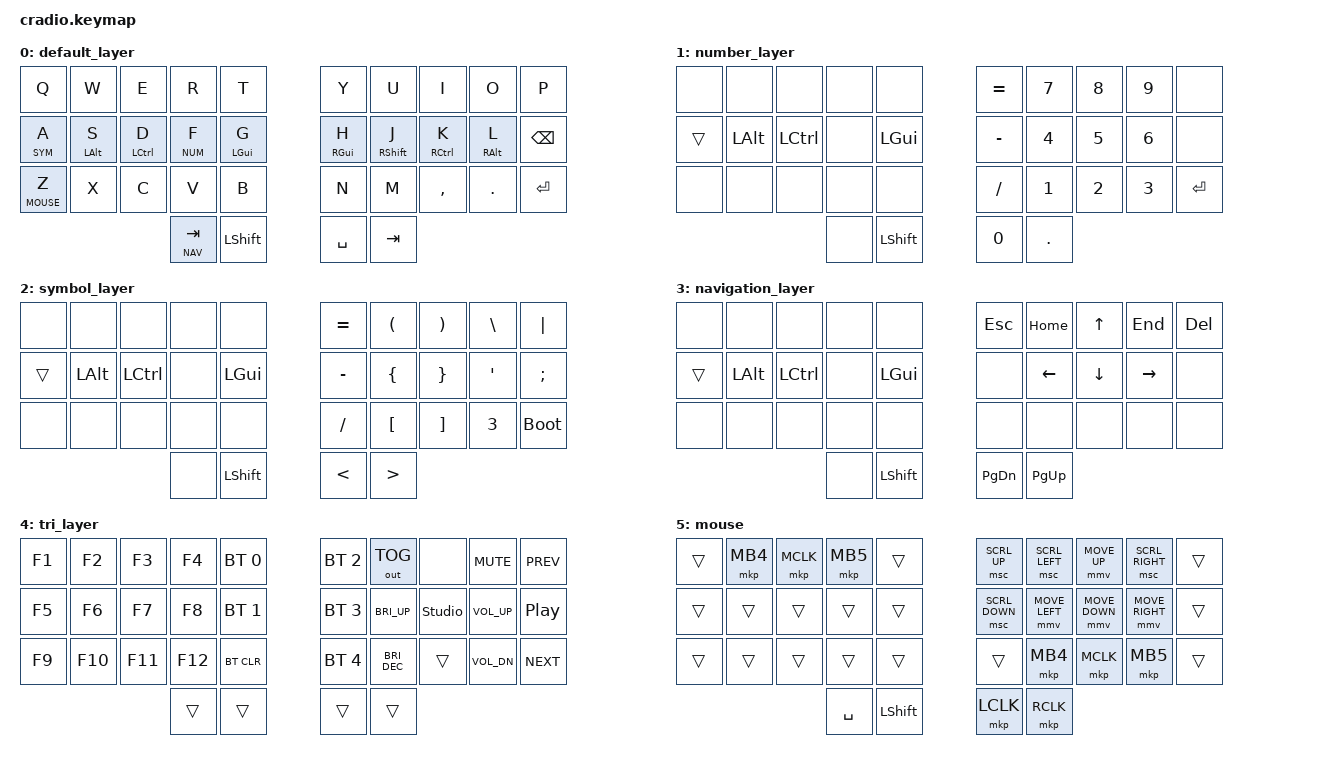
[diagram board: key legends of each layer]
// Copyright (c) 2022 The ZMK Contributors
// SPDX-License-Identifier: MIT

#define ZMK_MOUSE_DEFAULT_MOVE_VAL 2500  // 600
#define ZMK_MOUSE_DEFAULT_SCRL_VAL 20    // 10

#include <behaviors.dtsi>
#include <dt-bindings/zmk/bt.h>
#include <dt-bindings/zmk/keys.h>
#include <dt-bindings/zmk/outputs.h>
#include <dt-bindings/zmk/mouse.h>

#define DEF 0
#define NUM 1
#define SYM 2
#define NAV 3
#define TRI 4
#define MOUSE 5

/ {
    chosen {
        zmk,charmap = &charmap_us;
    };
    behaviors {
        ht: hold_tap {
            label = "hold_tap";
            compatible = "zmk,behavior-hold-tap";
            #binding-cells = <2>;
            flavor = "tap-preferred";
            tapping-term-ms = <220>;
            quick-tap-ms = <150>;
            global-quick-tap;
            bindings = <&kp>, <&kp>;
        };
        mmv {
            acceleration-exponent = <1>;      // 1
            time-to-max-speed-ms = <300>;    // 40
            delay-ms = <0>;                   // 0
        };
        msc {
            acceleration-exponent = <0>;      // 0
            time-to-max-speed-ms = <40>;      // 500
            delay-ms = <0>;                   // 10
        };
    };

    conditional_layers {
        compatible = "zmk,conditional-layers";

        tri_layer {
            if-layers = <NUM SYM>;
            then-layer = <TRI>;
        };
    };

    keymap {
        compatible = "zmk,keymap";

        default_layer {
            bindings = <
&kp Q  &kp W       &kp E        &kp R        &kp T              &kp Y      &kp U        &kp I        &kp O       &kp P
&lt SYM A  &ht LALT S  &ht LCTRL D  &lt NUM F   &ht LGUI G       &ht RGUI H      &ht RSHIFT J   &ht RCTRL K  &ht RALT L  &kp BSPC
&lt MOUSE Z  &kp X       &kp C        &kp V        &kp B              &kp N      &kp M        &kp COMMA    &kp DOT     &kp ENTER
                                &lt NAV TAB  &kp LSHIFT         &kp SPACE &kp TAB
            >;
        };

        number_layer {
            bindings = <
&none   &none    &none     &none   &none                &kp EQUAL  &kp N7    &kp N8     &kp N9     &none
&trans  &kp LALT  &kp LCTRL  &none  &kp LGUI        &kp MINUS  &kp N4   &kp N5  &kp N6 &none
&none   &none    &none     &none   &none                &kp FSLH  &kp N1  &kp N2  &kp N3 &kp ENTER 
                              &none   &kp LSHIFT             &kp N0  &kp DOT
            >;
        };

        symbol_layer {
            bindings = <
&none   &none    &none     &none   &none                &kp EQUAL  &kp LPAR    &kp RPAR     &kp BACKSLASH     &kp PIPE
&trans  &kp LALT  &kp LCTRL  &none  &kp LGUI      &kp MINUS  &kp LBRC   &kp RBRC  &kp SQT &kp SEMICOLON
&none   &none    &none     &none   &none                &kp FSLH  &kp LBKT  &kp RBKT  &kp N3 &bootloader 
                              &none   &kp LSHIFT             &kp LT  &kp GT
            >;
        };

        navigation_layer {
            bindings = <
&none   &none    &none     &none   &none                   &kp ESC  &kp HOME    &kp UP     &kp END     &kp DEL
&trans  &kp LALT  &kp LCTRL  &none &kp LGUI         &none  &kp LEFT   &kp DOWN  &kp RIGHT &none
&none   &none    &none     &none   &none                   &none  &none  &none  &none &none 
                              &none   &kp LSHIFT                &kp PG_DN  &kp PG_UP
            >;
        };

        tri_layer {
            bindings = <
&kp F1  &kp F2   &kp F3   &kp F4   &bt BT_SEL 0    &bt BT_SEL 2  &out OUT_TOG   &none  &kp C_MUTE    &kp C_PREV
&kp F5  &kp F6   &kp F7   &kp F8   &bt BT_SEL 1    &bt BT_SEL 3  &kp C_BRI_UP   &studio_unlock    &kp C_VOL_UP  &kp C_PP
&kp F9  &kp F10  &kp F11  &kp F12  &bt BT_CLR      &bt BT_SEL 4  &kp C_BRI_DEC  &trans    &kp C_VOL_DN  &kp C_NEXT
                          &trans   &trans          &trans        &trans
            >;
        };

        mouse {
            bindings = <
&trans  &mkp MB4  &mkp MCLK  &mkp MB5   &trans      &msc SCRL_UP     &msc SCRL_LEFT    &mmv MOVE_UP     &msc SCRL_RIGHT    &trans
&trans      &trans    &trans     &trans     &trans      &msc SCRL_DOWN     &mmv MOVE_LEFT    &mmv MOVE_DOWN     &mmv MOVE_RIGHT    &trans
&trans      &trans    &trans     &trans     &trans      &trans     &mkp MB4  &mkp MCLK  &mkp MB5  &trans
                                 &kp SPACE  &kp LSHIFT  &mkp LCLK  &mkp RCLK
            >;
        };
    };
};
